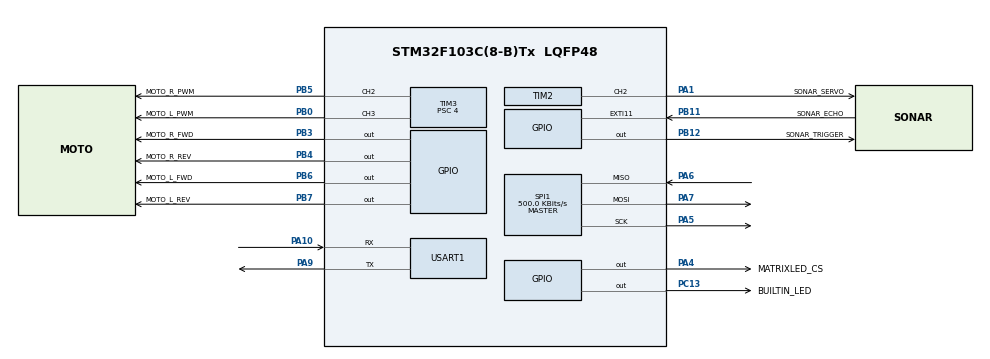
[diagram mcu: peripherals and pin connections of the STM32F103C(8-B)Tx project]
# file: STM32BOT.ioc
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Mcu.Family=STM32F1
Mcu.Name=STM32F103C(8-B)Tx
Mcu.Package=LQFP48
NVIC.EXTI15_10_IRQn=true\:0\:0\:false\:false\:true\:true
NVIC.PriorityGroup=NVIC_PRIORITYGROUP_4
NVIC.USART1_IRQn=true\:0\:0\:false\:false\:true\:true
PA1.GPIO_Label=SONAR_SERVO
PA1.Signal=S_TIM2_CH2
PA10.Mode=Asynchronous
PA10.Signal=USART1_RX
PA13.Mode=Serial_Wire
PA13.Signal=SYS_JTMS-SWDIO
PA14.Mode=Serial_Wire
PA14.Signal=SYS_JTCK-SWCLK
PA4.GPIO_Label=MATRIXLED_CS
PA4.GPIO_Speed=GPIO_SPEED_FREQ_HIGH
PA4.PinState=GPIO_PIN_SET
PA4.Signal=GPIO_Output
PA5.Mode=Full_Duplex_Master
PA5.Signal=SPI1_SCK
PA6.Mode=Full_Duplex_Master
PA6.Signal=SPI1_MISO
PA7.Mode=Full_Duplex_Master
PA7.Signal=SPI1_MOSI
PA9.Mode=Asynchronous
PA9.Signal=USART1_TX
PB0.GPIO_Label=MOTO_L_PWM
PB0.Signal=S_TIM3_CH3
PB11.GPIO_Label=SONAR_ECHO
PB11.GPIO_ModeDefaultEXTI=GPIO_MODE_IT_RISING_FALLING
PB11.GPIO_PuPd=GPIO_PULLUP
PB11.Signal=GPXTI11
PB12.GPIO_Label=SONAR_TRIGGER
PB12.Signal=GPIO_Output
PB3.GPIO_Label=MOTO_R_FWD
PB3.Signal=GPIO_Output
PB4.GPIO_Label=MOTO_R_REV
PB4.Signal=GPIO_Output
PB5.GPIO_Label=MOTO_R_PWM
PB5.Signal=S_TIM3_CH2
PB6.GPIO_Label=MOTO_L_FWD
PB6.Signal=GPIO_Output
PB7.GPIO_Label=MOTO_L_REV
PB7.Signal=GPIO_Output
PC13-TAMPER-RTC.GPIO_Label=BUILTIN_LED
PC13-TAMPER-RTC.PinState=GPIO_PIN_SET
PC13-TAMPER-RTC.Signal=GPIO_Output
PC14-OSC32_IN.Mode=LSE-External-Oscillator
PC14-OSC32_IN.Signal=RCC_OSC32_IN
PC15-OSC32_OUT.Mode=LSE-External-Oscillator
PC15-OSC32_OUT.Signal=RCC_OSC32_OUT
PD0-OSC_IN.Mode=HSE-External-Oscillator
PD0-OSC_IN.Signal=RCC_OSC_IN
PD1-OSC_OUT.Mode=HSE-External-Oscillator
PD1-OSC_OUT.Signal=RCC_OSC_OUT
ProjectManager.HeapSize=0x200
ProjectManager.StackSize=0x400
ProjectManager.TargetToolchain=Makefile
RCC.AHBFreq_Value=8000000
RCC.APB1Freq_Value=8000000
RCC.APB1TimFreq_Value=8000000
RCC.APB2Freq_Value=8000000
RCC.APB2TimFreq_Value=8000000
RCC.HCLKFreq_Value=8000000
RCC.USBFreq_Value=8000000
SH.S_TIM2_CH2.0=TIM2_CH2,PWM Generation2 CH2
SH.S_TIM3_CH2.0=TIM3_CH2,PWM Generation2 CH2
SH.S_TIM3_CH3.0=TIM3_CH3,PWM Generation3 CH3
SPI1.BaudRatePrescaler=SPI_BAUDRATEPRESCALER_16
SPI1.CalculateBaudRate=500.0 KBits/s
SPI1.DataSize=SPI_DATASIZE_16BIT
SPI1.Direction=SPI_DIRECTION_2LINES
SPI1.Mode=SPI_MODE_MASTER
SPI1.VirtualType=VM_MASTER
TIM1.CounterMode=TIM_COUNTERMODE_UP
TIM1.Period=40000-1
TIM1.Prescaler=7
TIM2.Channel-PWM\ Generation2\ CH2=TIM_CHANNEL_2
TIM2.Period=2000
TIM2.Prescaler=79
TIM2.Pulse-PWM\ Generation2\ CH2=0
TIM3.Channel-PWM\ Generation2\ CH2=TIM_CHANNEL_2
TIM3.Channel-PWM\ Generation3\ CH3=TIM_CHANNEL_3
TIM3.Period=32
TIM3.Prescaler=4
USART1.VirtualMode=VM_ASYNC
VP_TIM1_VS_ClockSourceINT.Mode=Internal
board=STM32BOT

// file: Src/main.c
/**
  ******************************************************************************
  * @file           : main.c
  * @brief          : Main program body
  ******************************************************************************
  ** This notice applies to any and all portions of this file
  * that are not between comment pairs USER CODE BEGIN and
  * USER CODE END. Other portions of this file, whether
  * inserted by the user or by software development tools
  * are owned by their respective copyright owners.
  *
  * COPYRIGHT(c) 2018 STMicroelectronics
  *
  * Redistribution and use in source and binary forms, with or without modification,
  * are permitted provided that the following conditions are met:
  *   1. Redistributions of source code must retain the above copyright notice,
  *      this list of conditions and the following disclaimer.
  *   2. Redistributions in binary form must reproduce the above copyright notice,
  *      this list of conditions and the following disclaimer in the documentation
  *      and/or other materials provided with the distribution.
  *   3. Neither the name of STMicroelectronics nor the names of its contributors
  *      may be used to endorse or promote products derived from this software
  *      without specific prior written permission.
  *
  * THIS SOFTWARE IS PROVIDED BY THE COPYRIGHT HOLDERS AND CONTRIBUTORS "AS IS"
  * AND ANY EXPRESS OR IMPLIED WARRANTIES, INCLUDING, BUT NOT LIMITED TO, THE
  * IMPLIED WARRANTIES OF MERCHANTABILITY AND FITNESS FOR A PARTICULAR PURPOSE ARE
  * DISCLAIMED. IN NO EVENT SHALL THE COPYRIGHT HOLDER OR CONTRIBUTORS BE LIABLE
  * FOR ANY DIRECT, INDIRECT, INCIDENTAL, SPECIAL, EXEMPLARY, OR CONSEQUENTIAL
  * DAMAGES (INCLUDING, BUT NOT LIMITED TO, PROCUREMENT OF SUBSTITUTE GOODS OR
  * SERVICES; LOSS OF USE, DATA, OR PROFITS; OR BUSINESS INTERRUPTION) HOWEVER
  * CAUSED AND ON ANY THEORY OF LIABILITY, WHETHER IN CONTRACT, STRICT LIABILITY,
  * OR TORT (INCLUDING NEGLIGENCE OR OTHERWISE) ARISING IN ANY WAY OUT OF THE USE
  * OF THIS SOFTWARE, EVEN IF ADVISED OF THE POSSIBILITY OF SUCH DAMAGE.
  *
  ******************************************************************************
  */
#include "main.h"
#include "stm32f1xx_hal.h"

/* USER CODE BEGIN Includes */
#include "max7219.h"
#include "hcsr04.h"

/* USER CODE END Includes */

SPI_HandleTypeDef hspi1;

TIM_HandleTypeDef htim1;
TIM_HandleTypeDef htim2;
TIM_HandleTypeDef htim3;

UART_HandleTypeDef huart1;

/* USER CODE BEGIN PV */
/* Private variables ---------------------------------------------------------*/
__IO ITStatus UartReady = RESET;

typedef struct {
	GPIO_PinState lf;
	GPIO_PinState lr;
	GPIO_PinState rf;
	GPIO_PinState rr;
} MOTO_Pins;

/* USER CODE END PV */

void SystemClock_Config(void);
static void MX_GPIO_Init(void);
static void MX_USART1_UART_Init(void);
static void MX_SPI1_Init(void);
static void MX_TIM2_Init(void);
static void MX_TIM3_Init(void);
static void MX_TIM1_Init(void);

void HAL_TIM_MspPostInit(TIM_HandleTypeDef *htim);

/* USER CODE BEGIN PFP */
/* Private function prototypes -----------------------------------------------*/
void uart_send_string(char *s);

void moto_command(int c);

/* USER CODE END PFP */

int main(void)
{

  /* MCU Configuration----------------------------------------------------------*/

  /* Reset of all peripherals, Initializes the Flash interface and the Systick. */
  HAL_Init();

  /* Configure the system clock */
  SystemClock_Config();

  /* Initialize all configured peripherals */
  MX_GPIO_Init();
  MX_USART1_UART_Init();
  MX_SPI1_Init();
  MX_TIM2_Init();
  MX_TIM3_Init();
  MX_TIM1_Init();
  /* USER CODE BEGIN 2 */
  uart_send_string("max7219 initialization...\n\r");
  max7219_init(8);

#if 0
  uart_send_string("servo sonar calibration...\n\r");

  sonar_pwm_setvalue(50);
  HAL_Delay(2000);
  sonar_pwm_setvalue(260);
  HAL_Delay(2000);
  sonar_pwm_setvalue(150);
  HAL_Delay(2000);
//    user_pwm_setvalue(150);
//    user_pwm_setvalue(150);
//    user_pwm_setvalue(150);

  uart_send_string("motor calibration...\n\r");
  moto_command(MOTO_STOP);
  HAL_Delay(1000);
  moto_command(MOTO_FWD);
  HAL_Delay(1000);
  moto_command(MOTO_REV);
  HAL_Delay(1000);
  moto_command(MOTO_FWD_LEFT);
  HAL_Delay(1000);
  moto_command(MOTO_FWD_RIGHT);
  HAL_Delay(1000);
  moto_command(MOTO_STOP);
#endif

  uart_send_string("sonar timer start...\n\r");
  HAL_TIM_Base_Start(&htim1);
  sonar_start();

  moto_command(MOTO_FWD);

  //unsigned int counter = 0;

  /* USER CODE END 2 */

  /* Infinite loop */
  while (1)
  {

  /* USER CODE BEGIN 3 */

//	  HAL_GPIO_WritePin(BUILTIN_LED_GPIO_Port, BUILTIN_LED_Pin, GPIO_PIN_SET);
//	  HAL_Delay(500);
//	  HAL_GPIO_WritePin(BUILTIN_LED_GPIO_Port, BUILTIN_LED_Pin, GPIO_PIN_RESET);
//	  HAL_Delay(500);

	  {
		  char tmp[40];
		  if (sonar_is_ready()) {
			  int distance = sonar_distance();
			  sprintf(tmp, "Distance = %d\n\r", distance);
			  uart_send_string(tmp);
			  sonar_start();

			  if (distance < 100) {
				  moto_command(MOTO_STOP);
			  } else {
				  moto_command(MOTO_FWD);
			  }
		  }
	  }

  }
  /* USER CODE END 3 */

}

void SystemClock_Config(void)
{

  RCC_OscInitTypeDef RCC_OscInitStruct;
  RCC_ClkInitTypeDef RCC_ClkInitStruct;

    /**Initializes the CPU, AHB and APB busses clocks
    */
  RCC_OscInitStruct.OscillatorType = RCC_OSCILLATORTYPE_HSI;
  RCC_OscInitStruct.HSIState = RCC_HSI_ON;
  RCC_OscInitStruct.HSICalibrationValue = 16;
  RCC_OscInitStruct.PLL.PLLState = RCC_PLL_NONE;
  if (HAL_RCC_OscConfig(&RCC_OscInitStruct) != HAL_OK)
  {
    _Error_Handler(__FILE__, __LINE__);
  }

    /**Initializes the CPU, AHB and APB busses clocks
    */
  RCC_ClkInitStruct.ClockType = RCC_CLOCKTYPE_HCLK|RCC_CLOCKTYPE_SYSCLK
                              |RCC_CLOCKTYPE_PCLK1|RCC_CLOCKTYPE_PCLK2;
  RCC_ClkInitStruct.SYSCLKSource = RCC_SYSCLKSOURCE_HSI;
  RCC_ClkInitStruct.AHBCLKDivider = RCC_SYSCLK_DIV1;
  RCC_ClkInitStruct.APB1CLKDivider = RCC_HCLK_DIV1;
  RCC_ClkInitStruct.APB2CLKDivider = RCC_HCLK_DIV1;

  if (HAL_RCC_ClockConfig(&RCC_ClkInitStruct, FLASH_LATENCY_0) != HAL_OK)
  {
    _Error_Handler(__FILE__, __LINE__);
  }

    /**Configure the Systick interrupt time
    */
  HAL_SYSTICK_Config(HAL_RCC_GetHCLKFreq()/1000);

    /**Configure the Systick
    */
  HAL_SYSTICK_CLKSourceConfig(SYSTICK_CLKSOURCE_HCLK);

  /* SysTick_IRQn interrupt configuration */
  HAL_NVIC_SetPriority(SysTick_IRQn, 0, 0);
}

/* SPI1 init function */
static void MX_SPI1_Init(void)
{

  /* SPI1 parameter configuration*/
  hspi1.Instance = SPI1;
  hspi1.Init.Mode = SPI_MODE_MASTER;
  hspi1.Init.Direction = SPI_DIRECTION_2LINES;
  hspi1.Init.DataSize = SPI_DATASIZE_16BIT;
  hspi1.Init.CLKPolarity = SPI_POLARITY_LOW;
  hspi1.Init.CLKPhase = SPI_PHASE_1EDGE;
  hspi1.Init.NSS = SPI_NSS_SOFT;
  hspi1.Init.BaudRatePrescaler = SPI_BAUDRATEPRESCALER_16;
  hspi1.Init.FirstBit = SPI_FIRSTBIT_MSB;
  hspi1.Init.TIMode = SPI_TIMODE_DISABLE;
  hspi1.Init.CRCCalculation = SPI_CRCCALCULATION_DISABLE;
  hspi1.Init.CRCPolynomial = 10;
  if (HAL_SPI_Init(&hspi1) != HAL_OK)
  {
    _Error_Handler(__FILE__, __LINE__);
  }

}

/* TIM1 init function */
static void MX_TIM1_Init(void)
{

  TIM_ClockConfigTypeDef sClockSourceConfig;
  TIM_MasterConfigTypeDef sMasterConfig;

  htim1.Instance = TIM1;
  htim1.Init.Prescaler = 7;
  htim1.Init.CounterMode = TIM_COUNTERMODE_UP;
  htim1.Init.Period = 40000-1;
  htim1.Init.ClockDivision = TIM_CLOCKDIVISION_DIV1;
  htim1.Init.RepetitionCounter = 0;
  htim1.Init.AutoReloadPreload = TIM_AUTORELOAD_PRELOAD_DISABLE;
  if (HAL_TIM_Base_Init(&htim1) != HAL_OK)
  {
    _Error_Handler(__FILE__, __LINE__);
  }

  sClockSourceConfig.ClockSource = TIM_CLOCKSOURCE_INTERNAL;
  if (HAL_TIM_ConfigClockSource(&htim1, &sClockSourceConfig) != HAL_OK)
  {
    _Error_Handler(__FILE__, __LINE__);
  }

  sMasterConfig.MasterOutputTrigger = TIM_TRGO_RESET;
  sMasterConfig.MasterSlaveMode = TIM_MASTERSLAVEMODE_DISABLE;
  if (HAL_TIMEx_MasterConfigSynchronization(&htim1, &sMasterConfig) != HAL_OK)
  {
    _Error_Handler(__FILE__, __LINE__);
  }

}

/* TIM2 init function */
static void MX_TIM2_Init(void)
{

  TIM_MasterConfigTypeDef sMasterConfig;
  TIM_OC_InitTypeDef sConfigOC;

  htim2.Instance = TIM2;
  htim2.Init.Prescaler = 79;
  htim2.Init.CounterMode = TIM_COUNTERMODE_UP;
  htim2.Init.Period = 2000;
  htim2.Init.ClockDivision = TIM_CLOCKDIVISION_DIV1;
  htim2.Init.AutoReloadPreload = TIM_AUTORELOAD_PRELOAD_DISABLE;
  if (HAL_TIM_PWM_Init(&htim2) != HAL_OK)
  {
    _Error_Handler(__FILE__, __LINE__);
  }

  sMasterConfig.MasterOutputTrigger = TIM_TRGO_RESET;
  sMasterConfig.MasterSlaveMode = TIM_MASTERSLAVEMODE_DISABLE;
  if (HAL_TIMEx_MasterConfigSynchronization(&htim2, &sMasterConfig) != HAL_OK)
  {
    _Error_Handler(__FILE__, __LINE__);
  }

  sConfigOC.OCMode = TIM_OCMODE_PWM1;
  sConfigOC.Pulse = 0;
  sConfigOC.OCPolarity = TIM_OCPOLARITY_HIGH;
  sConfigOC.OCFastMode = TIM_OCFAST_DISABLE;
  if (HAL_TIM_PWM_ConfigChannel(&htim2, &sConfigOC, TIM_CHANNEL_2) != HAL_OK)
  {
    _Error_Handler(__FILE__, __LINE__);
  }

  HAL_TIM_MspPostInit(&htim2);

}

/* TIM3 init function */
static void MX_TIM3_Init(void)
{

  TIM_MasterConfigTypeDef sMasterConfig;
  TIM_OC_InitTypeDef sConfigOC;

  htim3.Instance = TIM3;
  htim3.Init.Prescaler = 4;
  htim3.Init.CounterMode = TIM_COUNTERMODE_UP;
  htim3.Init.Period = 32;
  htim3.Init.ClockDivision = TIM_CLOCKDIVISION_DIV1;
  htim3.Init.AutoReloadPreload = TIM_AUTORELOAD_PRELOAD_DISABLE;
  if (HAL_TIM_PWM_Init(&htim3) != HAL_OK)
  {
    _Error_Handler(__FILE__, __LINE__);
  }

  sMasterConfig.MasterOutputTrigger = TIM_TRGO_RESET;
  sMasterConfig.MasterSlaveMode = TIM_MASTERSLAVEMODE_DISABLE;
  if (HAL_TIMEx_MasterConfigSynchronization(&htim3, &sMasterConfig) != HAL_OK)
  {
    _Error_Handler(__FILE__, __LINE__);
  }

  sConfigOC.OCMode = TIM_OCMODE_PWM1;
  sConfigOC.Pulse = 0;
  sConfigOC.OCPolarity = TIM_OCPOLARITY_HIGH;
  sConfigOC.OCFastMode = TIM_OCFAST_DISABLE;
  if (HAL_TIM_PWM_ConfigChannel(&htim3, &sConfigOC, TIM_CHANNEL_2) != HAL_OK)
  {
    _Error_Handler(__FILE__, __LINE__);
  }

  if (HAL_TIM_PWM_ConfigChannel(&htim3, &sConfigOC, TIM_CHANNEL_3) != HAL_OK)
  {
    _Error_Handler(__FILE__, __LINE__);
  }

  HAL_TIM_MspPostInit(&htim3);

}

/* USART1 init function */
static void MX_USART1_UART_Init(void)
{

  huart1.Instance = USART1;
  huart1.Init.BaudRate = 115200;
  huart1.Init.WordLength = UART_WORDLENGTH_8B;
  huart1.Init.StopBits = UART_STOPBITS_1;
  huart1.Init.Parity = UART_PARITY_NONE;
  huart1.Init.Mode = UART_MODE_TX_RX;
  huart1.Init.HwFlowCtl = UART_HWCONTROL_NONE;
  huart1.Init.OverSampling = UART_OVERSAMPLING_16;
  if (HAL_UART_Init(&huart1) != HAL_OK)
  {
    _Error_Handler(__FILE__, __LINE__);
  }

}

/** Configure pins as
        * Analog
        * Input
        * Output
        * EVENT_OUT
        * EXTI
*/
static void MX_GPIO_Init(void)
{

  GPIO_InitTypeDef GPIO_InitStruct;

  /* GPIO Ports Clock Enable */
  __HAL_RCC_GPIOC_CLK_ENABLE();
  __HAL_RCC_GPIOD_CLK_ENABLE();
  __HAL_RCC_GPIOA_CLK_ENABLE();
  __HAL_RCC_GPIOB_CLK_ENABLE();

  /*Configure GPIO pin Output Level */
  HAL_GPIO_WritePin(BUILTIN_LED_GPIO_Port, BUILTIN_LED_Pin, GPIO_PIN_SET);

  /*Configure GPIO pin Output Level */
  HAL_GPIO_WritePin(MATRIXLED_CS_GPIO_Port, MATRIXLED_CS_Pin, GPIO_PIN_SET);

  /*Configure GPIO pin Output Level */
  HAL_GPIO_WritePin(GPIOB, SONAR_TRIGGER_Pin|MOTO_R_FWD_Pin|MOTO_R_REV_Pin|MOTO_L_FWD_Pin
                          |MOTO_L_REV_Pin, GPIO_PIN_RESET);

  /*Configure GPIO pin : BUILTIN_LED_Pin */
  GPIO_InitStruct.Pin = BUILTIN_LED_Pin;
  GPIO_InitStruct.Mode = GPIO_MODE_OUTPUT_PP;
  GPIO_InitStruct.Speed = GPIO_SPEED_FREQ_LOW;
  HAL_GPIO_Init(BUILTIN_LED_GPIO_Port, &GPIO_InitStruct);

  /*Configure GPIO pin : MATRIXLED_CS_Pin */
  GPIO_InitStruct.Pin = MATRIXLED_CS_Pin;
  GPIO_InitStruct.Mode = GPIO_MODE_OUTPUT_PP;
  GPIO_InitStruct.Speed = GPIO_SPEED_FREQ_HIGH;
  HAL_GPIO_Init(MATRIXLED_CS_GPIO_Port, &GPIO_InitStruct);

  /*Configure GPIO pin : SONAR_ECHO_Pin */
  GPIO_InitStruct.Pin = SONAR_ECHO_Pin;
  GPIO_InitStruct.Mode = GPIO_MODE_IT_RISING_FALLING;
  GPIO_InitStruct.Pull = GPIO_PULLUP;
  HAL_GPIO_Init(SONAR_ECHO_GPIO_Port, &GPIO_InitStruct);

  /*Configure GPIO pins : SONAR_TRIGGER_Pin MOTO_R_FWD_Pin MOTO_R_REV_Pin MOTO_L_FWD_Pin
                           MOTO_L_REV_Pin */
  GPIO_InitStruct.Pin = SONAR_TRIGGER_Pin|MOTO_R_FWD_Pin|MOTO_R_REV_Pin|MOTO_L_FWD_Pin
                          |MOTO_L_REV_Pin;
  GPIO_InitStruct.Mode = GPIO_MODE_OUTPUT_PP;
  GPIO_InitStruct.Speed = GPIO_SPEED_FREQ_LOW;
  HAL_GPIO_Init(GPIOB, &GPIO_InitStruct);

  /* EXTI interrupt init*/
  HAL_NVIC_SetPriority(EXTI15_10_IRQn, 0, 0);
  HAL_NVIC_EnableIRQ(EXTI15_10_IRQn);

}

/* USER CODE BEGIN 4 */

void uart_send_string(char *s)
{
	while (*s) {
		HAL_UART_Transmit(&huart1, s++, 1, 100000);
//		s++;
	}
}

void HAL_UART_RxCpltCallback(UART_HandleTypeDef *UartHandle)
{
    UartReady = SET;
}

void sonar_pwm_setvalue(uint16_t value)
{
    TIM_OC_InitTypeDef sConfigOC;

    sConfigOC.OCMode = TIM_OCMODE_PWM1;
    sConfigOC.Pulse = value;
    sConfigOC.OCPolarity = TIM_OCPOLARITY_HIGH;
    sConfigOC.OCFastMode = TIM_OCFAST_DISABLE;
    HAL_TIM_PWM_ConfigChannel(&htim2, &sConfigOC, TIM_CHANNEL_2);
    HAL_TIM_PWM_Start(&htim2, TIM_CHANNEL_2);
}

void moto_command(int c)
{
	MOTO_Pins pins;
	switch(c) {
	case MOTO_STOP:
		pins = (MOTO_Pins) { GPIO_PIN_RESET, GPIO_PIN_RESET, GPIO_PIN_RESET, GPIO_PIN_RESET};
		break;
	case MOTO_FWD:
		pins = (MOTO_Pins) { GPIO_PIN_SET, GPIO_PIN_RESET, GPIO_PIN_SET, GPIO_PIN_RESET};
		break;
	case MOTO_REV:
		pins = (MOTO_Pins) { GPIO_PIN_RESET, GPIO_PIN_SET, GPIO_PIN_RESET, GPIO_PIN_SET};
		break;
	case MOTO_FWD_LEFT:
		pins = (MOTO_Pins) { GPIO_PIN_RESET, GPIO_PIN_RESET, GPIO_PIN_SET, GPIO_PIN_RESET};
		break;
	case MOTO_FWD_RIGHT:
		pins = (MOTO_Pins) { GPIO_PIN_SET, GPIO_PIN_RESET, GPIO_PIN_RESET, GPIO_PIN_RESET};
		break;
	case MOTO_REV_LEFT:
		pins = (MOTO_Pins) { GPIO_PIN_RESET, GPIO_PIN_SET, GPIO_PIN_RESET, GPIO_PIN_RESET};
		break;
	case MOTO_REV_RIGHT:
		pins = (MOTO_Pins) { GPIO_PIN_RESET, GPIO_PIN_RESET, GPIO_PIN_RESET, GPIO_PIN_SET};
		break;
	}
	HAL_GPIO_WritePin(MOTO_L_FWD_GPIO_Port, MOTO_L_FWD_Pin, pins.lf);
	HAL_GPIO_WritePin(MOTO_L_REV_GPIO_Port, MOTO_L_REV_Pin, pins.lr);
	HAL_GPIO_WritePin(MOTO_R_FWD_GPIO_Port, MOTO_R_FWD_Pin, pins.rf);
	HAL_GPIO_WritePin(MOTO_R_REV_GPIO_Port, MOTO_R_REV_Pin, pins.rr);
}

/* USER CODE END 4 */

void _Error_Handler(char *file, int line)
{
  while(1)
  {
  }
}

/************************ (C) COPYRIGHT STMicroelectronics *****END OF FILE****/
